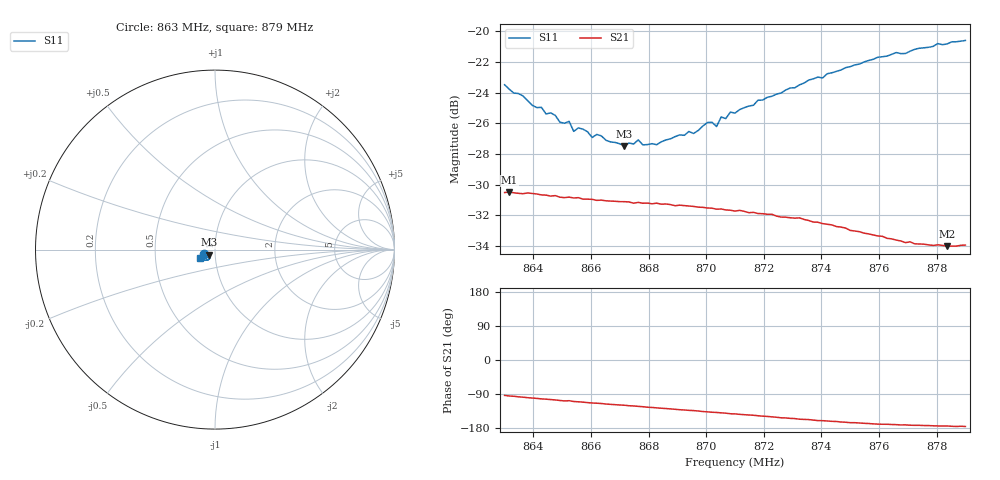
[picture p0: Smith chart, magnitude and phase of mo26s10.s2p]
# HZ S RI R 50
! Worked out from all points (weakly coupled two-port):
!   101 points, 863 MHz to 879 MHz, reference 50 ohm
!   highest |S21| = -30.48 dB at 863.16 MHz (marker M1); lowest = -34.0 dB at 878.36 MHz (marker M2)
!   lowest |S11| = -27.5 dB at 867.16 MHz (marker M3), VSWR 1.09, Z = 46.9 - j2.63 ohm
!   |S11| at or under -10 dB: start of sweep to end of sweep
!   S12 and S22 are empty: the file has one direction only
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8.63e8  -0.0612 -0.0271  -0.00176 -0.0298  0 0  0 0
8.6316e8  -0.0587 -0.0273  -0.00262 -0.0298  0 0  0 0
8.6476e8  -0.0469 -0.0251  -0.00774 -0.0281  0 0  0 0
8.6492e8  -0.045 -0.0231  -0.00832 -0.0276  0 0  0 0
8.6524e8  -0.0462 -0.0213  -0.00862 -0.0275  0 0  0 0
8.654e8  -0.041 -0.0234  -0.00958 -0.027  0 0  0 0
8.6572e8  -0.0405 -0.0257  -0.0103 -0.0265  0 0  0 0
8.6604e8  -0.0375 -0.0251  -0.0113 -0.026  0 0  0 0
8.662e8  -0.0377 -0.0266  -0.0114 -0.0257  0 0  0 0
8.6716e8  -0.0317 -0.028  -0.0137 -0.0243  0 0  0 0
8.6764e8  -0.0315 -0.0312  -0.0148 -0.0234  0 0  0 0
8.678e8  -0.0302 -0.0302  -0.0151 -0.023  0 0  0 0
8.6844e8  -0.0279 -0.0335  -0.0165 -0.0218  0 0  0 0
8.6956e8  -0.0256 -0.0388  -0.0185 -0.0195  0 0  0 0
8.7004e8  -0.0272 -0.0425  -0.0194 -0.0182  0 0  0 0
8.7036e8  -0.0258 -0.0416  -0.0197 -0.0175  0 0  0 0
8.7052e8  -0.0281 -0.0445  -0.02 -0.0171  0 0  0 0
8.71e8  -0.0283 -0.0461  -0.0205 -0.0159  0 0  0 0
8.7372e8  -0.0396 -0.0578  -0.0223 -0.00873  0 0  0 0
8.7644e8  -0.0615 -0.0575  -0.0208 -0.00358  0 0  0 0
8.7836e8  -0.0766 -0.0489  -0.0198 -0.00205  0 0  0 0
8.79e8  -0.0812 -0.0461  -0.02 -0.0016  0 0  0 0
